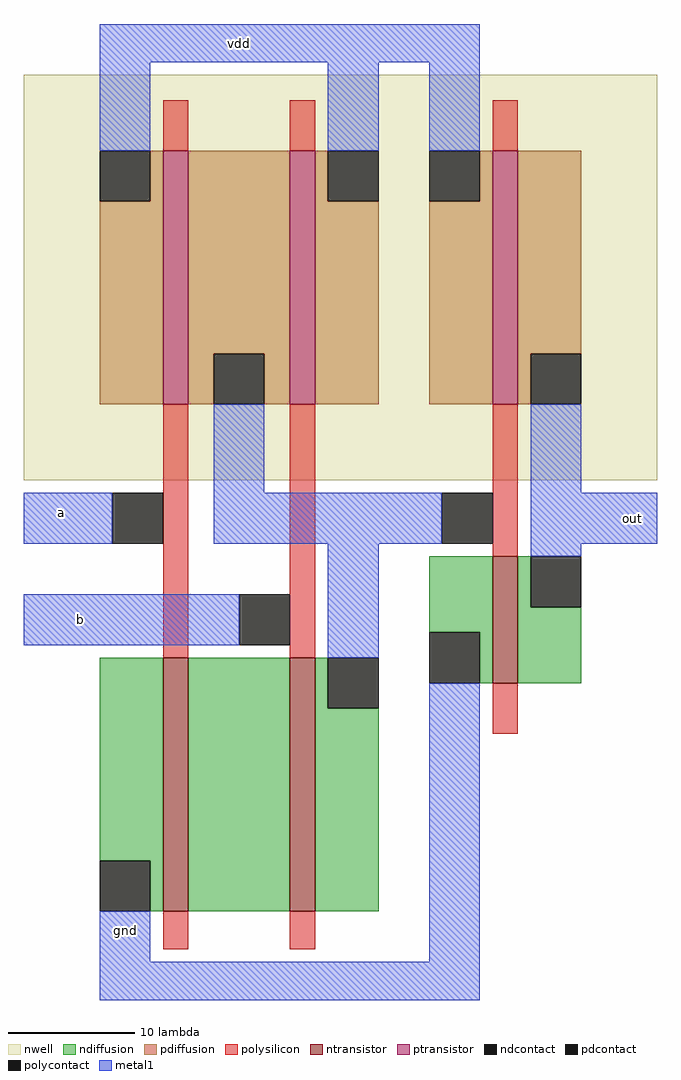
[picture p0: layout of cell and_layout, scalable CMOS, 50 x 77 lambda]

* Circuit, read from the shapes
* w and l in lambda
.subckt and_layout a b gnd out vdd
M1 n1 a gnd VSUBS nfet w=20 l=2
M2 n2 b n1 VSUBS nfet w=20 l=2
M3 out n2 gnd VSUBS nfet w=10 l=2
M4 n2 a vdd n3 pfet w=20 l=2
M5 vdd b n2 n3 pfet w=20 l=2
M6 out n2 vdd n3 pfet w=20 l=2
.ends

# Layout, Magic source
magic
tech scmos
<< nwell >>
rect -1 -38 49 -6
<< ntransistor >>
rect 10 -72 12 -52
rect 20 -72 22 -52
rect 36 -54 38 -44
<< ptransistor >>
rect 10 -32 12 -12
rect 20 -32 22 -12
rect 36 -32 38 -12
<< ndiffusion >>
rect 31 -50 36 -44
rect 5 -68 10 -52
rect 9 -72 10 -68
rect 12 -72 20 -52
rect 22 -56 23 -52
rect 35 -54 36 -50
rect 38 -48 39 -44
rect 38 -54 43 -48
rect 22 -72 27 -56
<< pdiffusion >>
rect 9 -16 10 -12
rect 5 -32 10 -16
rect 12 -28 20 -12
rect 12 -32 14 -28
rect 18 -32 20 -28
rect 22 -16 23 -12
rect 22 -32 27 -16
rect 35 -16 36 -12
rect 31 -32 36 -16
rect 38 -28 43 -12
rect 38 -32 39 -28
<< ndcontact >>
rect 5 -72 9 -68
rect 23 -56 27 -52
rect 31 -54 35 -50
rect 39 -48 43 -44
<< pdcontact >>
rect 5 -16 9 -12
rect 14 -32 18 -28
rect 23 -16 27 -12
rect 31 -16 35 -12
rect 39 -32 43 -28
<< polysilicon >>
rect 10 -12 12 -8
rect 20 -12 22 -8
rect 36 -12 38 -8
rect 10 -52 12 -32
rect 20 -52 22 -32
rect 36 -44 38 -32
rect 36 -58 38 -54
rect 10 -75 12 -72
rect 20 -75 22 -72
<< polycontact >>
rect 6 -43 10 -39
rect 16 -51 20 -47
rect 32 -43 36 -39
<< metal1 >>
rect 5 -5 35 -2
rect 5 -12 9 -5
rect 23 -12 27 -5
rect 31 -12 35 -5
rect 14 -39 18 -32
rect 39 -39 43 -32
rect -1 -43 6 -39
rect 14 -43 32 -39
rect 39 -43 49 -39
rect -1 -51 16 -47
rect 23 -52 27 -43
rect 39 -44 43 -43
rect 5 -76 9 -72
rect 31 -76 35 -54
rect 5 -79 35 -76
<< labels >>
rlabel metal1 15 -4 17 -3 5 vdd
rlabel metal1 1 -41 3 -40 3 a
rlabel metal1 3 -50 4 -48 3 b
rlabel metal1 6 -74 8 -73 1 gnd
rlabel metal1 46 -42 48 -40 7 out
<< end >>
